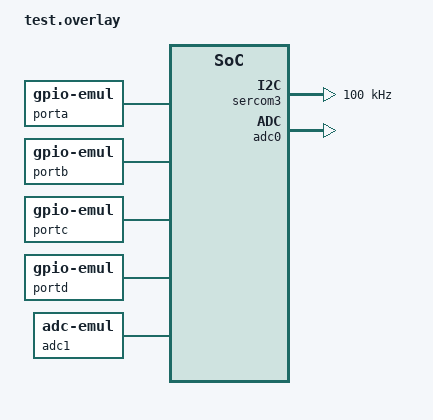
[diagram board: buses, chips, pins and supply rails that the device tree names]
/ {
    opendeck_retained: opendeck-retained {
    };

    porta: porta {
        compatible = "zephyr,gpio-emul";
        rising-edge;
        falling-edge;
        high-level;
        low-level;
        gpio-controller;
        #gpio-cells = <2>;
        status = "okay";
    };

    portb: portb {
        compatible = "zephyr,gpio-emul";
        rising-edge;
        falling-edge;
        high-level;
        low-level;
        gpio-controller;
        #gpio-cells = <2>;
        status = "okay";
    };

    portc: portc {
        compatible = "zephyr,gpio-emul";
        rising-edge;
        falling-edge;
        high-level;
        low-level;
        gpio-controller;
        #gpio-cells = <2>;
        status = "okay";
    };

    portd: portd {
        compatible = "zephyr,gpio-emul";
        rising-edge;
        falling-edge;
        high-level;
        low-level;
        gpio-controller;
        #gpio-cells = <2>;
        status = "okay";
    };

    adc1: adc1 {
        compatible = "zephyr,adc-emul";
        nchannels = <16>;
        #io-channel-cells = <1>;
        status = "okay";
    };

    sercom0: sercom0 {
        compatible = "zephyr,uart-emul";
        current-speed = <115200>;
        status = "okay";
    };

    sercom6: sercom6 {
        compatible = "zephyr,uart-emul";
        current-speed = <115200>;
        status = "okay";
    };

    sercom3: sercom3@500 {
        compatible = "zephyr,i2c-emul-controller";
        #address-cells = <1>;
        #size-cells = <0>;
        #forward-cells = <1>;
        clock-frequency = <100000>;
        reg = <0x500 4>;
        status = "okay";
    };

    test {
        partitions {
            compatible = "fixed-partitions";
            #address-cells = <1>;
            #size-cells = <1>;

            factory_partition: partition@0 {
                reg = <0x0 0x4000>;
            };

            emueeprom_page1_partition: partition@4000 {
                reg = <0x4000 0x4000>;
            };

            emueeprom_page2_partition: partition@8000 {
                reg = <0x8000 0x4000>;
            };
        };
    };
};

&adc0 {
    nchannels = <16>;
    status = "okay";
};

&flash0 {
    partitions {
        boot_partition: partition@0 {
            compatible = "zephyr,mapped-partition";
            label = "boot";
            reg = <0x00000000 0x0000c000>;
        };

        code_partition: partition@c000 {
            compatible = "zephyr,mapped-partition";
            label = "code-partition";
            reg = <0x0000c000 0x00069000>;
        };
    };
};

opendeck_partition_boot: &boot_partition {};

opendeck_partition_app: &code_partition {};
